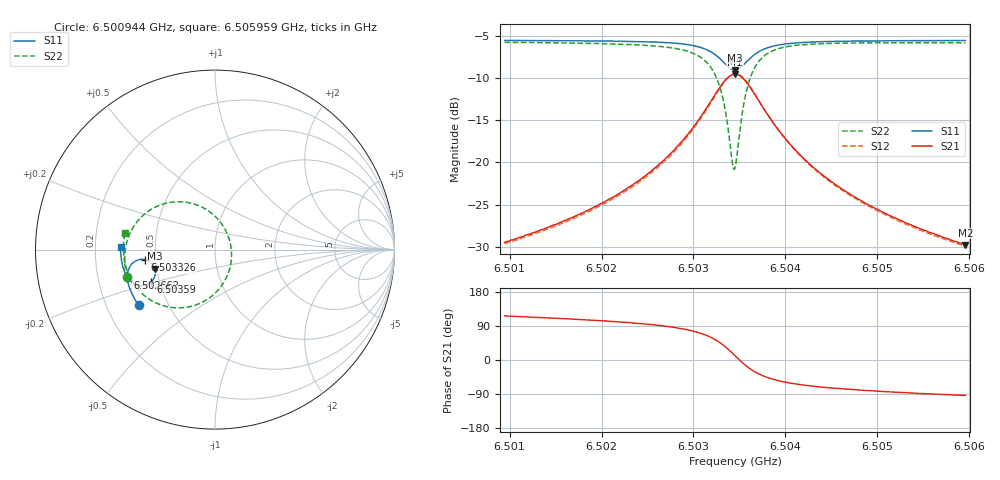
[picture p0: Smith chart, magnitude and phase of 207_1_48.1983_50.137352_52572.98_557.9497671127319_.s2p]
#  HZ  S  RI  R  50.00
! Rohde & Schwarz Vector Network Analyzer
! Rohde-Schwarz,ZNB20-2Port,1311601062101988,3.16
! Created: UTC 3/20/2024, 11:45:16 AM
! freq[Hz]  re:S11  im:S11  re:S21  im:S21  re:S12  im:S12  re:S22  im:S22
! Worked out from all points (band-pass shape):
!   401 points, 6.500944 GHz to 6.505959 GHz, reference 50 ohm
!   highest |S21| = -9.57 dB at 6.503452 GHz (marker M1); lowest = -29.8 dB at 6.505959 GHz (marker M2)
!   |S21| within 3 dB of the highest: 6.5032 GHz to 6.503702 GHz (501.7 kHz wide, 0.00771 % of centre)
!   lowest |S11| = -9.1 dB at 6.503452 GHz (marker M3), VSWR 2.09, Z = 24.4 - j5.92 ohm
!   |S11| at or under -10 dB: nowhere
!   |S22| runs from -20.8 to -5.8 dB; largest |S21 - S12| = 0.012
!   S11 on the Smith chart (normalised r, x): 6.500944 GHz: 0.34, -0.29; 6.502662 GHz: 0.33, -0.14; 6.503326 GHz: 0.44, -0.06; 6.50359 GHz: 0.45, -0.19; 6.505959 GHz: 0.31, +0.01
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6.5009444e9  -0.4261 -0.3093  -0.0149 0.03  -0.0131 0.0302  -0.4897 -0.1546
6.5017844e9  -0.4622 -0.2473  -0.0142 0.048  -0.0118 0.0475  -0.503 -0.0654
6.5022733e9  -0.4792 -0.2037  -0.0109 0.069  -0.0079 0.0678  -0.4993 0.00491
6.5026243e9  -0.4874 -0.1644  -0.00215 0.0971  0.00146 0.0947  -0.4802 0.0761
6.5026619e9  -0.4878 -0.1596  -0.000318 0.1011  0.00336 0.0988  -0.4762 0.0854
6.5029377e9  -0.4836 -0.1164  0.0266 0.144  0.0303 0.1395  -0.4202 0.1716
6.5031258e9  -0.4621 -0.0784  0.0812 0.1863  0.0838 0.18  -0.3154 0.2443
6.5032386e9  -0.429 -0.0577  0.1512 0.2038  0.152 0.1975  -0.1897 0.2664
6.5033264e9  -0.3882 -0.0564  0.2315 0.1872  0.2317 0.182  -0.0512 0.2249
6.5034141e9  -0.3462 -0.0846  0.3087 0.1138  0.3108 0.109  0.0716 0.0806
6.5034392e9  -0.3383 -0.0986  0.3216 0.0825  0.3247 0.077  0.0881 0.0215
6.5034517e9  -0.3356 -0.1063  0.3258 0.0658  0.3292 0.0599  0.0919 -0.00927
6.5034768e9  -0.3327 -0.1221  0.3293 0.0318  0.3328 0.0247  0.0895 -0.0716
6.5035395e9  -0.3401 -0.1597  0.3103 -0.0467  0.3124 -0.0569  0.0321 -0.2078
6.5035896e9  -0.3568 -0.1817  0.2762 -0.0924  0.2758 -0.1037  -0.0455 -0.2787
6.5036899e9  -0.3969 -0.2005  0.1999 -0.1348  0.1945 -0.145  -0.2016 -0.3245
6.5038529e9  -0.4453 -0.1927  0.1136 -0.1347  0.1063 -0.14  -0.3582 -0.2813
6.5040284e9  -0.474 -0.1716  0.0665 -0.1144  0.06 -0.1168  -0.4349 -0.2152
6.5042917e9  -0.4962 -0.1401  0.0341 -0.0885  0.0292 -0.0889  -0.4818 -0.1383
6.5046553e9  -0.5114 -0.102  0.0154 -0.0656  0.012 -0.0652  -0.5038 -0.0654
6.5051316e9  -0.521 -0.0577  0.00492 -0.0482  0.00283 -0.0475  -0.5105 0.0025
6.5059591e9  -0.526 0.0124  -0.00198 -0.0323  -0.00349 -0.0317  -0.5025 0.0902
